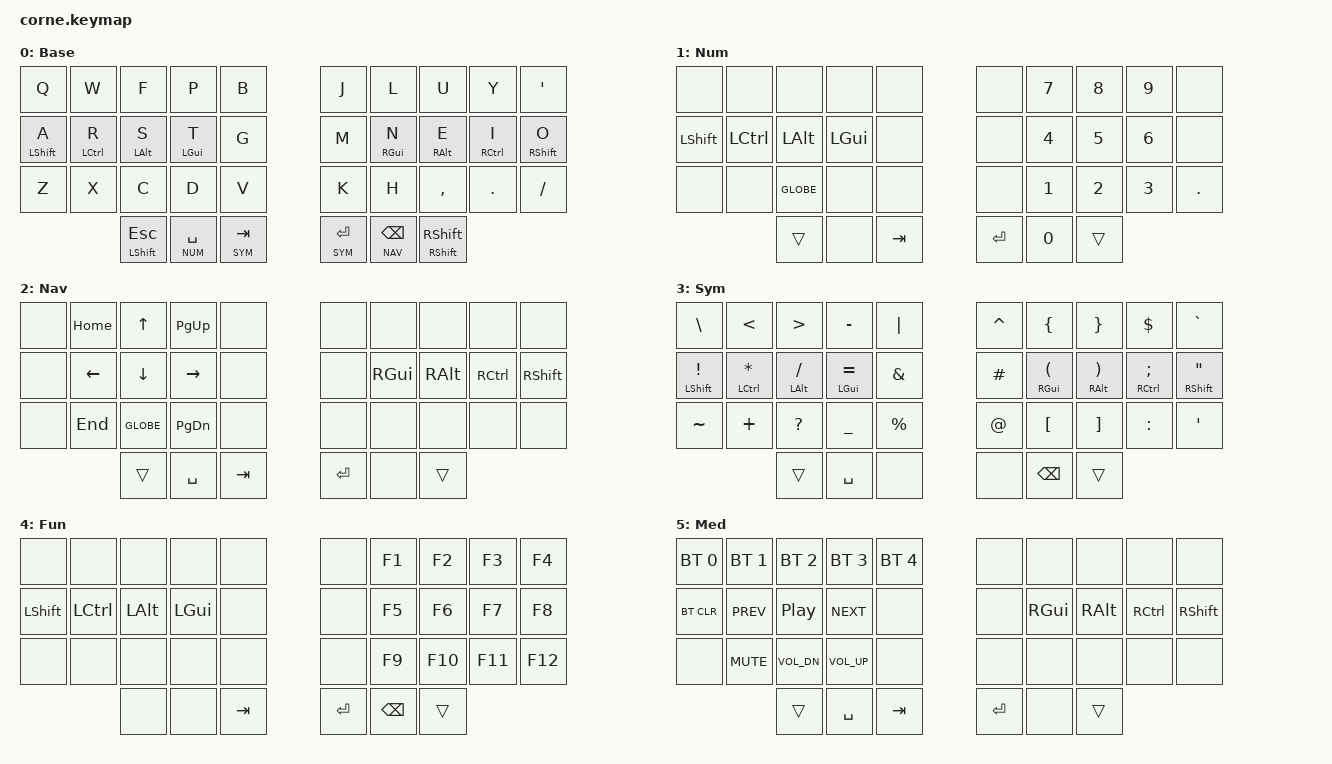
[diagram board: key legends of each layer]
/*
 * Copyright (c) 2020 The ZMK Contributors
 *
 * SPDX-License-Identifier: MIT
 */

#include <behaviors.dtsi>
#include <dt-bindings/zmk/keys.h>
#include <dt-bindings/zmk/bt.h>

// Key position groups
#define KEYS_L 0 1 2 3 4 10 11 12 13 14 20 21 22 23 24  // left hand
#define KEYS_R 5 6 7 8 9 15 16 17 18 19 25 26 27 28 29  // right hand
#define THUMBS 30 31 32 33 34 35  // thumb keys

// Layer definitions
#define BASE 0
#define NUM  1
#define NAV  2
#define SYM  3
#define FUN  4
#define MED  5

/ {
        chosen {
                zmk,matrix_transform = &five_column_transform;
        };

        combos {
                compatible = "zmk,combos";

                // ESC + SPC = FUN layer
                // Holding both left thumb keys together activates function layer
                // timeout-ms: both keys must be pressed within 50ms of each other
                // key-positions: 30=ESC, 31=SPC (left thumb cluster)
                // &mo FUN: momentary FUN layer - releases when either key releases
                combo_fun {
                        timeout-ms = <50>;
                        key-positions = <30 31>;
                        bindings = <&mo FUN>;
                };

                // BSPC + DEL = MED layer
                // Holding both right thumb keys together activates media layer
                // timeout-ms: both keys must be pressed within 50ms of each other
                // key-positions: 34=BSPC, 35=DEL (right thumb cluster)
                // &mo MED: momentary MED layer - releases when either key releases
                combo_med {
                        timeout-ms = <50>;
                        key-positions = <34 35>;
                        bindings = <&mo MED>;
                };
        };

        behaviors {
                // Homerow mods for left hand
                // Tap for letter, hold for modifier (Ctrl/Alt/Gui)
                // Only triggers mod when opposite hand or thumb keys are pressed
                // balanced flavor: waits full tapping-term before deciding
                // require-prior-idle-ms: prevents accidental mod activation during fast typing
                hml: homerow_mods_left {
                        compatible = "zmk,behavior-hold-tap";
                        #binding-cells = <2>;
                        flavor = "balanced";
                        tapping-term-ms = <280>;
                        quick-tap-ms = <175>;
                        require-prior-idle-ms = <150>;
                        bindings = <&kp>, <&kp>;
                        hold-trigger-key-positions = <KEYS_R THUMBS>;
                        hold-trigger-on-release;
                };

                // Homerow mods for right hand
                // Same as hml but for right hand keys
                // hold-trigger-key-positions set to left hand to prevent same-hand conflicts
                hmr: homerow_mods_right {
                        compatible = "zmk,behavior-hold-tap";
                        #binding-cells = <2>;
                        flavor = "balanced";
                        tapping-term-ms = <280>;
                        quick-tap-ms = <175>;
                        require-prior-idle-ms = <150>;
                        bindings = <&kp>, <&kp>;
                        hold-trigger-key-positions = <KEYS_L THUMBS>;
                        hold-trigger-on-release;
                };

                // Sticky hold-tap: tap for sticky key, hold for normal key press
                // Usage: &sht KEY KEY for mods (e.g., &sht RSHFT RSHFT)
                // Can be adapted for layers by changing bindings to <&mo>, <&sl>
                sht: sticky_hold_tap {
                        compatible = "zmk,behavior-hold-tap";
                        #binding-cells = <2>;
                        flavor = "balanced";
                        tapping-term-ms = <200>;
                        quick-tap-ms = <175>;
                        bindings = <&kp>, <&sk>;
                };
        };
};

// Sticky key configuration
// Sticky keys stay active for one keypress after release (one-shot modifiers)
// release-after-ms: auto-release if no key pressed within 900ms
// quick-release: releases immediately after next key press (no need to wait for release-after-ms)
&sk {
        release-after-ms = <900>;
        quick-release;
};

// Layer tap configuration
// Tap for key, hold for momentary layer activation
// balanced flavor: waits full tapping-term before deciding between tap/hold
// quick-tap-ms: allows rapid repeated taps without triggering hold
&lt {
        tapping-term-ms = <200>;
        quick-tap-ms = <175>;
        flavor = "balanced";
};

/ {
        keymap {
                compatible = "zmk,keymap";

                // Layer 0: Base - Colemak-DH
                // Main typing layer with homerow mods
                // Left homerow: A=Shift, R=Ctrl, S=Alt, T=Gui
                // Right homerow: N=Gui, E=Alt, I=Ctrl, O=Shift
                // Thumb keys: ESC/LSHIFT, SPACE/NUM, TAB/SYM, RET/SYM, BSPC/NAV, sticky-RSHIFT
                // Access: default layer
                // Combos: ESC+SPC=Fun, BSPC+DEL=Med
                base_layer {
// -----------------------------------------------------------------------------------------
// |  Q  |  W  |  F  |  P  |  B  |   |  J  |  L  |  U  |  Y  |  '  |
// | A/⇧ | R/⎈ | S/⎇ | T/◆ |  G  |   |  M  | N/◆ | E/⎇ | I/⎈ | O/⇧ |
// |  Z  |  X  |  C  |  D  |  V  |   |  K  |  H  |  ,  |  .  |  /  |
//   | ESC/⇧ | SPC/NUM | TAB/SYM |   | RET/SYM | BSP/NAV |  ⇧/⇧  |
                        display-name = "Base";
                        bindings = <
   &kp Q &kp W &kp F &kp P &kp B   &kp J &kp L  &kp U     &kp Y   &kp SQT
   &hml LSHIFT A &hml LCTRL R &hml LALT S &hml LGUI T &kp G   &kp M &hmr RGUI N &hmr RALT E &hmr RCTRL I &hmr RSHIFT O
   &kp Z &kp X &kp C &kp D &kp V   &kp K &kp H  &kp COMMA &kp DOT &kp FSLH
          &mt LSHIFT ESC &lt NUM SPACE &lt SYM TAB   &lt SYM RET &lt NAV BSPC &sht RSHIFT RSHIFT
                        >;
                };
                // Layer 1: Num - Number pad
                // Number pad layout on right hand
                // Left homerow: A=Shift, R=Ctrl, S=Alt, T=Gui (regular modifiers for modifier+number combos)
                // Right: 7-9 (top), 4-6 (home), 1-3 (bottom), . on bottom right
                // 0 is on right thumb (backspace position)
                // Access: hold SPACE
                num_layer {
// -----------------------------------------------------------------------------------------
// |     |     |     |     |     |   |     |  7  |  8  |  9  |     |
// |  ⇧  |  ⎈  |  ⎇  |  ◆  |     |   |     |  4  |  5  |  6  |     |
// |     |     |     |     |     |   |     |  1  |  2  |  3  |  .  |
//             |     |     | TAB |   | RET |  0  |     |
                        display-name = "Num";
                        bindings = <
   &none     &none     &none    &none    &none    &none  &kp N7 &kp N8 &kp N9 &none
   &kp LSHFT &kp LCTRL &kp LALT &kp LGUI &none    &none  &kp N4 &kp N5 &kp N6 &none
   &none     &none     &kp GLOBE &none   &none    &none &kp N1 &kp N2 &kp N3 &kp DOT
                        &trans &none &kp TAB   &kp RET &kp N0 &trans
                        >;
                };

                // Layer 2: Nav - Navigation
                // Arrow keys and navigation controls
                // Left: W=Home, F=Up, P=PgUp, R=Left, S=Down, T=Right, X=End, D=PgDn
                // Right homerow: N=Gui, E=Alt, I=Ctrl, O=Shift (regular modifiers for modifier+nav combos)
                // Access: hold BSPC
                nav_layer {
// -----------------------------------------------------------------------------------------
// |     | HOM | UP  |PGUP |     |   |     |     |     |     |     |
// |     | LFT | DWN | RGT |     |   |     |  ◆  |  ⎇  |  ⎈  |  ⇧  |
// |     | END | 🌐  |PGDN |     |   |     |     |     |     |     |
//             |     | SPC | TAB |   | RET |     |     |
                        display-name = "Nav";
                        bindings = <
   &none &kp HOME &kp UP &kp PG_UP &none    &none &none &none &none &none
   &none &kp LEFT &kp DOWN &kp RIGHT &none    &none &kp RGUI &kp RALT &kp RCTRL &kp RSHIFT
   &none &kp END &kp GLOBE &kp PG_DN &none    &none &none &none &none &none
                        &trans &kp SPACE &kp TAB   &kp RET &none &trans
                        >;
                };

                // Layer 3: Sym - Symbols
                // Programming symbols and special characters (based on getreuer's layout)
                // Left: \ < > - | (top), ! * / = & (home), ~ + ? _ % (bottom) with homerow mods on !=Shift, *=Ctrl, /=Alt, ==Gui
                // Right: ^ { } $ ` (top), # ( ) ; " (home), @ [ ] : ' (bottom) with homerow mods on (=Gui, )=Alt, ;=Ctrl, "=Shift
                // Access: hold TAB or RET
                sym_layer {
// -----------------------------------------------------------------------------------------
// |  \  |  <  |  >  |  -  |  |  |   |  ^  |  {  |  }  |  $  |  `  |
// | !/⇧ | */⎈ | //⎇ | =/◆ |  &  |   |  #  | (/◆ | )/⎇ | ;/⎈ | "/⇧ |
// |  ~  |  +  |  ?  |  _  |  %  |   |  @  |  [  |  ]  |  :  |  '  |
//             |     | SPC |     |   |     | BSP |     |
                        display-name = "Sym";
                        bindings = <
   &kp BSLH &kp LT &kp GT &kp MINUS &kp PIPE   &kp CARET &kp LBRC &kp RBRC &kp DLLR &kp GRAVE
   &hml LSHIFT EXCL &hml LCTRL STAR &hml LALT FSLH &hml LGUI EQUAL &kp AMPS   &kp HASH &hmr RGUI LPAR &hmr RALT RPAR &hmr RCTRL SEMI &hmr RSHIFT DQT
   &kp TILDE &kp PLUS &kp QMARK &kp UNDER &kp PRCNT   &kp AT &kp LBKT &kp RBKT &kp COLON &kp SQT
                             &trans &kp SPACE &none   &none &kp BSPC &trans
                        >;
                };

                // Layer 4: Fun - Function keys
                // Function keys F1-F12 on right hand
                // Left homerow: A=Shift, R=Ctrl, S=Alt, T=Gui (regular modifiers for modifier+function combos)
                // Right: F1-F4 (top), F5-F8 (home), F9-F12 (bottom)
                // Access: combo ESC+SPC
                fun_layer {
// -----------------------------------------------------------------------------------------
// |     |     |     |     |     |   |     | F1  | F2  | F3  | F4  |
// |  ⇧  |  ⎈  |  ⎇  |  ◆  |     |   |     | F5  | F6  | F7  | F8  |
// |     |     |     |     |     |   |     | F9  | F10 | F11 | F12 |
//             |     |     | TAB |   | RET | BSP |     |
                        display-name = "Fun";
                        bindings = <
   &none &none &none &none &none   &none &kp F1 &kp F2 &kp F3 &kp F4
   &kp LSHFT &kp LCTRL &kp LALT &kp LGUI &none   &none &kp F5 &kp F6 &kp F7 &kp F8
   &none &none &none &none &none   &none &kp F9 &kp F10 &kp F11 &kp F12
                        &none &none &kp TAB   &kp RET &kp BSPC &trans
                        >;
                };

                // Layer 5: Med - Media and Bluetooth
                // Media controls and Bluetooth management
                // Left: Q/W/F/P/B=BT1-5, A=BT_CLR, R=Prev, S=Play/Pause, T=Next, C=Mute, D=Vol-, V=Vol+
                // Right homerow: N=Gui, E=Alt, I=Ctrl, O=Shift (regular modifiers for modifier+media combos)
                // Access: combo BSPC+DEL
                med_layer {
// -----------------------------------------------------------------------------------------
// | BT1 | BT2 | BT3 | BT4 | BT5 |   |     |     |     |     |     |
// |BTCLR| PRV | P/P | NXT |     |   |     |  ◆  |  ⎇  |  ⎈  |  ⇧  |
// |     |MUTE |VLDN |VLUP |     |   |     |     |     |     |     |
//             |     | SPC | TAB |   | RET |     |     |
                        display-name = "Med";
                        bindings = <
   &bt BT_SEL 0 &bt BT_SEL 1 &bt BT_SEL 2 &bt BT_SEL 3 &bt BT_SEL 4   &none &none &none &none &none
   &bt BT_CLR &kp C_PREV &kp C_PP &kp C_NEXT &none   &none &kp RGUI &kp RALT &kp RCTRL &kp RSHFT
   &none &kp C_MUTE &kp C_VOL_DN &kp C_VOL_UP &none   &none &none &none &none &none
                        &trans &kp SPACE &kp TAB   &kp RET &none &trans
                        >;
                };
        };
};
